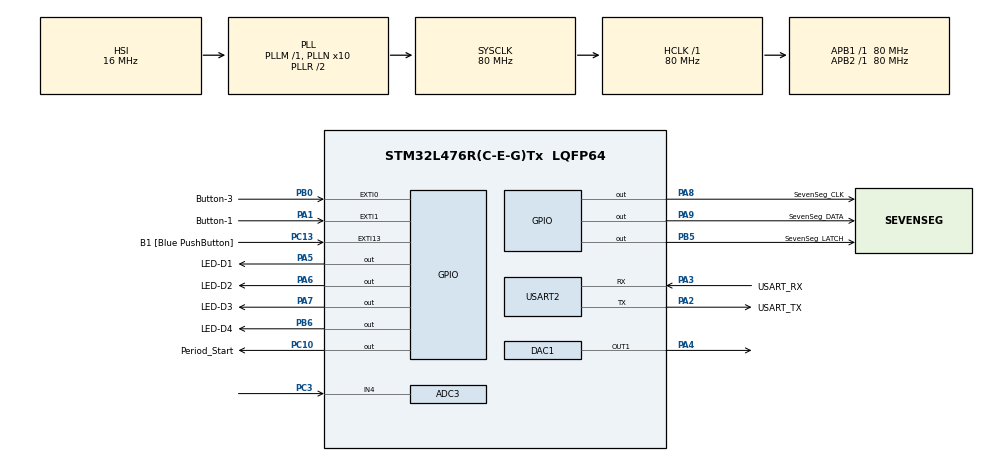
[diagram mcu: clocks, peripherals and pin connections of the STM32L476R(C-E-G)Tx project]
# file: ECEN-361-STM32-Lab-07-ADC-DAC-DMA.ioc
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ADC3.Channel-1\#ChannelRegularConversion=ADC_CHANNEL_4
ADC3.ContinuousConvMode=ENABLE
ADC3.DMAContinuousRequests=ENABLE
ADC3.ExternalTrigConv=ADC_EXTERNALTRIG_T3_TRGO
ADC3.NbrOfConversion=1
ADC3.NbrOfConversionFlag=1
ADC3.OffsetNumber-1\#ChannelRegularConversion=ADC_OFFSET_NONE
ADC3.Rank-1\#ChannelRegularConversion=1
ADC3.SamplingTime-1\#ChannelRegularConversion=ADC_SAMPLETIME_2CYCLES_5
DAC1.DAC_OutputBuffer-DAC_OUT1=DAC_OUTPUTBUFFER_ENABLE
DAC1.DAC_SampleAndHold-DAC_OUT1=DAC_SAMPLEANDHOLD_DISABLE
DAC1.DAC_Trigger-DAC_OUT1=DAC_TRIGGER_T2_TRGO
DAC1.DAC_UserTrimming-DAC_OUT1=DAC_TRIMMING_FACTORY
Dma.ADC3.1.Direction=DMA_PERIPH_TO_MEMORY
Dma.ADC3.1.Instance=DMA2_Channel5
Dma.ADC3.1.MemDataAlignment=DMA_MDATAALIGN_HALFWORD
Dma.ADC3.1.MemInc=DMA_MINC_ENABLE
Dma.ADC3.1.Mode=DMA_CIRCULAR
Dma.ADC3.1.PeriphDataAlignment=DMA_PDATAALIGN_HALFWORD
Dma.ADC3.1.PeriphInc=DMA_PINC_DISABLE
Dma.ADC3.1.Priority=DMA_PRIORITY_VERY_HIGH
Dma.DAC_CH1.0.Direction=DMA_MEMORY_TO_PERIPH
Dma.DAC_CH1.0.Instance=DMA1_Channel3
Dma.DAC_CH1.0.MemDataAlignment=DMA_MDATAALIGN_HALFWORD
Dma.DAC_CH1.0.MemInc=DMA_MINC_ENABLE
Dma.DAC_CH1.0.Mode=DMA_CIRCULAR
Dma.DAC_CH1.0.PeriphDataAlignment=DMA_PDATAALIGN_HALFWORD
Dma.DAC_CH1.0.PeriphInc=DMA_PINC_DISABLE
Dma.DAC_CH1.0.Priority=DMA_PRIORITY_MEDIUM
Dma.Request0=DAC_CH1
Dma.Request1=ADC3
Dma.Request2=USART2_TX
Dma.USART2_TX.2.Direction=DMA_MEMORY_TO_PERIPH
Dma.USART2_TX.2.Instance=DMA1_Channel7
Dma.USART2_TX.2.MemDataAlignment=DMA_MDATAALIGN_BYTE
Dma.USART2_TX.2.MemInc=DMA_MINC_ENABLE
Dma.USART2_TX.2.Mode=DMA_NORMAL
Dma.USART2_TX.2.PeriphDataAlignment=DMA_PDATAALIGN_BYTE
Dma.USART2_TX.2.PeriphInc=DMA_PINC_DISABLE
Dma.USART2_TX.2.Priority=DMA_PRIORITY_LOW
Mcu.Family=STM32L4
Mcu.Name=STM32L476R(C-E-G)Tx
Mcu.Package=LQFP64
NVIC.ADC3_IRQn=true\:0\:0\:false\:false\:true\:true\:true\:true
NVIC.DMA1_Channel3_IRQn=true\:5\:0\:true\:false\:true\:true\:true\:true
NVIC.DMA2_Channel5_IRQn=true\:0\:0\:false\:false\:true\:true\:true\:true
NVIC.EXTI0_IRQn=true\:0\:0\:false\:false\:true\:true\:true\:true
NVIC.EXTI15_10_IRQn=true\:0\:0\:false\:false\:true\:true\:true\:true
NVIC.EXTI1_IRQn=true\:0\:0\:false\:false\:true\:true\:true\:true
NVIC.PriorityGroup=NVIC_PRIORITYGROUP_4
NVIC.TIM1_BRK_TIM15_IRQn=true\:0\:0\:false\:false\:true\:true\:true\:true
NVIC.TIM1_TRG_COM_TIM17_IRQn=true\:0\:0\:false\:false\:true\:true\:true\:true
NVIC.TIM2_IRQn=true\:0\:0\:false\:false\:true\:true\:true\:true
NVIC.TIM3_IRQn=true\:0\:0\:false\:false\:true\:true\:true\:true
NVIC.TIM6_DAC_IRQn=true\:15\:0\:false\:false\:true\:true\:true\:true
PA1.GPIO_Label=Button-1
PA1.Signal=GPXTI1
PA13\ (JTMS-SWDIO).GPIO_Label=TMS
PA13\ (JTMS-SWDIO).Mode=Serial_Wire
PA13\ (JTMS-SWDIO).Signal=SYS_JTMS-SWDIO
PA14\ (JTCK-SWCLK).GPIO_Label=TCK
PA14\ (JTCK-SWCLK).Mode=Serial_Wire
PA14\ (JTCK-SWCLK).Signal=SYS_JTCK-SWCLK
PA2.GPIO_Label=USART_TX
PA2.GPIO_Mode=GPIO_MODE_AF_PP
PA2.GPIO_PuPd=GPIO_NOPULL
PA2.GPIO_Speed=GPIO_SPEED_FREQ_VERY_HIGH
PA2.Mode=Asynchronous
PA2.Signal=USART2_TX
PA3.GPIO_Label=USART_RX
PA3.GPIO_Mode=GPIO_MODE_AF_PP
PA3.GPIO_PuPd=GPIO_NOPULL
PA3.GPIO_Speed=GPIO_SPEED_FREQ_VERY_HIGH
PA3.Mode=Asynchronous
PA3.Signal=USART2_RX
PA4.Signal=COMP_DAC11_group
PA5.GPIO_Label=LED-D1
PA5.Signal=GPIO_Output
PA6.GPIO_Label=LED-D2
PA6.Signal=GPIO_Output
PA7.GPIO_Label=LED-D3
PA7.Signal=GPIO_Output
PA8.GPIO_Label=SevenSeg_CLK
PA8.Signal=GPIO_Output
PA9.GPIO_Label=SevenSeg_DATA
PA9.Signal=GPIO_Output
PB0.GPIO_Label=Button-3
PB0.Signal=GPXTI0
PB3\ (JTDO-TRACESWO).GPIO_Label=SWO
PB3\ (JTDO-TRACESWO).Signal=SYS_JTDO-SWO
PB5.GPIO_Label=SevenSeg_LATCH
PB5.Signal=GPIO_Output
PB6.GPIO_Label=LED-D4
PB6.Signal=GPIO_Output
PC10.GPIO_Label=Period_Start
PC10.Signal=GPIO_Output
PC13.GPIO_Label=B1 [Blue PushButton]
PC13.GPIO_ModeDefaultEXTI=GPIO_MODE_IT_FALLING
PC13.GPIO_PuPd=GPIO_NOPULL
PC13.Signal=GPXTI13
PC14-OSC32_IN\ (PC14).Mode=LSE-External-Oscillator
PC14-OSC32_IN\ (PC14).Signal=RCC_OSC32_IN
PC15-OSC32_OUT\ (PC15).Mode=LSE-External-Oscillator
PC15-OSC32_OUT\ (PC15).Signal=RCC_OSC32_OUT
PC3.Signal=ADCx_IN4
PC9.Signal=S_TIM8_CH4
PH0-OSC_IN\ (PH0).Signal=RCC_OSC_IN
PH1-OSC_OUT\ (PH1).Signal=RCC_OSC_OUT
ProjectManager.HeapSize=0x200
ProjectManager.StackSize=0x400
ProjectManager.TargetToolchain=STM32CubeIDE
RCC.ADCFreq_Value=64000000
RCC.AHBFreq_Value=80000000
RCC.APB1Freq_Value=80000000
RCC.APB1TimFreq_Value=80000000
RCC.APB2Freq_Value=80000000
RCC.APB2TimFreq_Value=80000000
RCC.CortexFreq_Value=80000000
RCC.HCLKFreq_Value=80000000
RCC.HSE_VALUE=8000000
RCC.HSI_VALUE=16000000
RCC.MSI_VALUE=4000000
RCC.PLLN=10
RCC.PLLSourceVirtual=RCC_PLLSOURCE_HSI
RCC.PREFETCH_ENABLE=1
RCC.SYSCLKFreq_VALUE=80000000
RCC.SYSCLKSource=RCC_SYSCLKSOURCE_PLLCLK
RCC.USBFreq_Value=64000000
RCC.VCOOutputFreq_Value=160000000
SH.ADCx_IN4.0=ADC3_IN4,IN4-Single-Ended
SH.COMP_DAC11_group.0=DAC1_OUT1,DAC_OUT1
SH.S_TIM8_CH4.0=TIM8_CH4
TIM15.Period=1000
TIM15.Prescaler=79
TIM17.Period=100
TIM17.Prescaler=800-1
TIM2.Period=1000
TIM2.Prescaler=79
TIM2.TIM_MasterOutputTrigger=TIM_TRGO_UPDATE
TIM3.Period=10
TIM3.Prescaler=79
TIM3.TIM_MasterOutputTrigger=TIM_TRGO_UPDATE
USART2.VirtualMode-Asynchronous=VM_ASYNC
VP_TIM15_VS_ClockSourceINT.Mode=Internal
VP_TIM17_VS_ClockSourceINT.Mode=Enable_Timer
VP_TIM2_VS_ClockSourceINT.Mode=Internal
VP_TIM3_VS_ClockSourceINT.Mode=Internal
board=NUCLEO-L476RG

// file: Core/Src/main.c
/* USER CODE BEGIN Header */
/**
  ******************************************************************************
  * @file           : main.c
  * @brief          : ECEN-361-Lab-08 ADC-DAC-DMA
  *
  * BYU-Idaho
  * Fall-2023 :   Lynn Watson
  *
  * See the  STUDENTS EDITABLE places below to modify for submission
  *
  ******************************************************************************
  */
/* USER CODE END Header */
#include "main.h"

/* USER CODE BEGIN Includes */
#include "sinewavetable.h"
#include "MultiFunctionShield.h"
/* USER CODE END Includes */

/* USER CODE BEGIN PTD */
void Start_the_DAC_DMA(void);

/* USER CODE END PTD */

/* USER CODE BEGIN PD */
int sindex = 0;
int adc_highest_seen = 0;
int hit_low = true;
int last_tick = 0;
int this_tick = 0;
uint32_t  prim;

int the_period = 0;
/* USER CODE END PD */

ADC_HandleTypeDef hadc3;
DMA_HandleTypeDef hdma_adc3;

DAC_HandleTypeDef hdac1;
DMA_HandleTypeDef hdma_dac_ch1;

TIM_HandleTypeDef htim2;
TIM_HandleTypeDef htim3;
TIM_HandleTypeDef htim15;
TIM_HandleTypeDef htim17;

UART_HandleTypeDef huart2;
DMA_HandleTypeDef hdma_usart2_tx;

/* USER CODE BEGIN PV */
#define PUTCHAR_PROTOTYPE int __io_putchar(int ch)
/* Going to use the buffer to look for level-crossing detector
 * so we can use the ADC as a frequency counter.
 *
 * May also want to send the value out with another DMA that
 * reads from this buffer and sends it out via USART2
 */
#define ADC_BUFFER_LENGTH 1000
uint16_t adc_buffer[ADC_BUFFER_LENGTH];

/* This is the formatted string buffer for the converted ADC results
 * After the buffer full of ADC samples is full, they have to be converted
 * to ASCII, a string per number that represents the 12-bits per sample
 *
 */
uint8_t adc_results_strings_buffer[ADC_BUFFER_LENGTH];

/* USER CODE END PV */

void SystemClock_Config(void);
static void MX_GPIO_Init(void);
static void MX_DMA_Init(void);
static void MX_USART2_UART_Init(void);
static void MX_DAC1_Init(void);
static void MX_TIM2_Init(void);
static void MX_TIM17_Init(void);
static void MX_ADC3_Init(void);
static void MX_TIM3_Init(void);
static void MX_TIM15_Init(void);
/* USER CODE BEGIN PFP */
void SW_SineWave(void * argument);
typedef void (*HAL_DMA_CallbackID)(DMA_HandleTypeDef *_hdma); //Pointer to the callback
void User_DMACompleteCallback(DMA_HandleTypeDef *hdac);

/* USER CODE END PFP */

/* USER CODE BEGIN 0 */

/************* GLOBALS **************/
int sinewave_table_index = 0;

enum points_per_cycle {ten=10,hundred=100,thousand=1000};
enum points_per_cycle points_to_use_in_a_cycle  = ten;

/* USER CODE END 0 */

int main(void)
{

  /* MCU Configuration--------------------------------------------------------*/

  /* Reset of all peripherals, Initializes the Flash interface and the Systick. */
  HAL_Init();

  /* USER CODE BEGIN Init */
#define USE_HAL_DAC_REGISTER_CALLBACKS        1U

  /* USER CODE END Init */

  /* Configure the system clock */
  SystemClock_Config();

  /* Initialize all configured peripherals */
  MX_GPIO_Init();
  MX_DMA_Init();
  MX_USART2_UART_Init();
  MX_DAC1_Init();
  MX_TIM2_Init();
  MX_TIM17_Init();
  MX_ADC3_Init();
  MX_TIM3_Init();
  MX_TIM15_Init();
  /* USER CODE BEGIN 2 */

  HAL_TIM_Base_Start_IT(&htim2);
  HAL_TIM_Base_Start_IT(&htim3); //Timer3 is the ADC Sample trigger
  HAL_TIM_Base_Start_IT(&htim15); //Timer6 is an absolute Tick

  /* USER CODE END 2 */

  /* Infinite loop */
  /* USER CODE BEGIN WHILE */

  // HAL_GPIO_WritePin(LD2_GPIO_Port,LD2_Pin,1);

  printf("\033\143"); printf("Welcome to ECEN-361 SineWave Generator\n\r");

  // Start timer
  MultiFunctionShield_Clear();								// Clear the 7-seg display
  HAL_TIM_Base_Start_IT(&htim17);							// LED SevenSeg cycle thru them
  Clear_LEDs();
  MultiFunctionShield_Display(points_to_use_in_a_cycle);

  /* Setup the DMA */

  if (HAL_DMA_Init(&hdma_dac_ch1) != HAL_OK)	{while(1);}
  if (HAL_DMA_Init(&hdma_adc3) != HAL_OK)		{while(1);}
  if (HAL_DMA_Init(&hdma_usart2_tx) != HAL_OK)		{while(1);}

// HAL_StatusTypeDef HAL_DMA_RegisterCallback(DMA_HandleTypeDef *hdma, HAL_DMA_CallbackIDTypeDef CallbackID, void (* pCallback)(DMA_HandleTypeDef *_hdma));
//*Tell the DMA interrupt where to go*/
  HAL_DMA_RegisterCallback(&hdma_dac_ch1, HAL_DAC_CH1_COMPLETE_CB_ID, User_DMACompleteCallback);

  Start_the_DAC_DMA();

  /* For second week, we'll look at the ADC, and the DMA for the USART
   * HAL_ADC_Start_DMA(&hadc3, (uint32_t*) adc_buffer, ADC_BUFFER_LENGTH);
   * HAL_UART_RegisterCallback(UART_HandleTypeDef *huart, HAL_UART_CallbackIDTypeDef CallbackID, pUART_CallbackTypeDef pCallback)
   * HAL_DAC_Start_DMA(&hdac1, DAC_CHANNEL_1, (uint32_t*) sineLookupTable_1000_pts, 1000,DAC_ALIGN_12B_R);
   * HAL_DAC_Start_DMA(&hdac1, DAC_CHANNEL_1, (uint32_t*) sineLookupTable_100_pts, 100,DAC_ALIGN_12B_R);
   * HAL_DAC_Start_DMA(&hdac1, DAC_CHANNEL_1, (uint32_t*) sineLookupTable_10_pts, 10,DAC_ALIGN_12B_R);
   * HAL_DMA_Start_IT(&hdma_dac_ch1, (uint32_t) &sineLookupTable_100_pts, (uint32_t) &hdac1, sizeof(sineLookupTable_100_pts));
   * HAL_DMA_PollForTransfer(&hdma_memtomem_dma1_channel1, );
   */

  while (1)
  {
    /* USER CODE END WHILE */

  }
}

void SystemClock_Config(void)
{
  RCC_OscInitTypeDef RCC_OscInitStruct = {0};
  RCC_ClkInitTypeDef RCC_ClkInitStruct = {0};

  /** Configure the main internal regulator output voltage
  */
  if (HAL_PWREx_ControlVoltageScaling(PWR_REGULATOR_VOLTAGE_SCALE1) != HAL_OK)
  {
    Error_Handler();
  }

  /** Initializes the RCC Oscillators according to the specified parameters
  * in the RCC_OscInitTypeDef structure.
  */
  RCC_OscInitStruct.OscillatorType = RCC_OSCILLATORTYPE_HSI;
  RCC_OscInitStruct.HSIState = RCC_HSI_ON;
  RCC_OscInitStruct.HSICalibrationValue = RCC_HSICALIBRATION_DEFAULT;
  RCC_OscInitStruct.PLL.PLLState = RCC_PLL_ON;
  RCC_OscInitStruct.PLL.PLLSource = RCC_PLLSOURCE_HSI;
  RCC_OscInitStruct.PLL.PLLM = 1;
  RCC_OscInitStruct.PLL.PLLN = 10;
  RCC_OscInitStruct.PLL.PLLP = RCC_PLLP_DIV7;
  RCC_OscInitStruct.PLL.PLLQ = RCC_PLLQ_DIV2;
  RCC_OscInitStruct.PLL.PLLR = RCC_PLLR_DIV2;
  if (HAL_RCC_OscConfig(&RCC_OscInitStruct) != HAL_OK)
  {
    Error_Handler();
  }

  /** Initializes the CPU, AHB and APB buses clocks
  */
  RCC_ClkInitStruct.ClockType = RCC_CLOCKTYPE_HCLK|RCC_CLOCKTYPE_SYSCLK
                              |RCC_CLOCKTYPE_PCLK1|RCC_CLOCKTYPE_PCLK2;
  RCC_ClkInitStruct.SYSCLKSource = RCC_SYSCLKSOURCE_PLLCLK;
  RCC_ClkInitStruct.AHBCLKDivider = RCC_SYSCLK_DIV1;
  RCC_ClkInitStruct.APB1CLKDivider = RCC_HCLK_DIV1;
  RCC_ClkInitStruct.APB2CLKDivider = RCC_HCLK_DIV1;

  if (HAL_RCC_ClockConfig(&RCC_ClkInitStruct, FLASH_LATENCY_4) != HAL_OK)
  {
    Error_Handler();
  }
}

static void MX_ADC3_Init(void)
{

  ADC_ChannelConfTypeDef sConfig = {0};

  /** Common config
  */
  hadc3.Instance = ADC3;
  hadc3.Init.ClockPrescaler = ADC_CLOCK_ASYNC_DIV1;
  hadc3.Init.Resolution = ADC_RESOLUTION_12B;
  hadc3.Init.DataAlign = ADC_DATAALIGN_RIGHT;
  hadc3.Init.ScanConvMode = ADC_SCAN_DISABLE;
  hadc3.Init.EOCSelection = ADC_EOC_SINGLE_CONV;
  hadc3.Init.LowPowerAutoWait = DISABLE;
  hadc3.Init.ContinuousConvMode = ENABLE;
  hadc3.Init.NbrOfConversion = 1;
  hadc3.Init.DiscontinuousConvMode = DISABLE;
  hadc3.Init.ExternalTrigConv = ADC_EXTERNALTRIG_T3_TRGO;
  hadc3.Init.ExternalTrigConvEdge = ADC_EXTERNALTRIGCONVEDGE_RISING;
  hadc3.Init.DMAContinuousRequests = ENABLE;
  hadc3.Init.Overrun = ADC_OVR_DATA_PRESERVED;
  hadc3.Init.OversamplingMode = DISABLE;
  if (HAL_ADC_Init(&hadc3) != HAL_OK)
  {
    Error_Handler();
  }

  /** Configure Regular Channel
  */
  sConfig.Channel = ADC_CHANNEL_4;
  sConfig.Rank = ADC_REGULAR_RANK_1;
  sConfig.SamplingTime = ADC_SAMPLETIME_2CYCLES_5;
  sConfig.SingleDiff = ADC_SINGLE_ENDED;
  sConfig.OffsetNumber = ADC_OFFSET_NONE;
  sConfig.Offset = 0;
  if (HAL_ADC_ConfigChannel(&hadc3, &sConfig) != HAL_OK)
  {
    Error_Handler();
  }

}

static void MX_DAC1_Init(void)
{

  DAC_ChannelConfTypeDef sConfig = {0};

  /** DAC Initialization
  */
  hdac1.Instance = DAC1;
  if (HAL_DAC_Init(&hdac1) != HAL_OK)
  {
    Error_Handler();
  }

  /** DAC channel OUT1 config
  */
  sConfig.DAC_SampleAndHold = DAC_SAMPLEANDHOLD_DISABLE;
  sConfig.DAC_Trigger = DAC_TRIGGER_T2_TRGO;
  sConfig.DAC_OutputBuffer = DAC_OUTPUTBUFFER_ENABLE;
  sConfig.DAC_ConnectOnChipPeripheral = DAC_CHIPCONNECT_DISABLE;
  sConfig.DAC_UserTrimming = DAC_TRIMMING_FACTORY;
  if (HAL_DAC_ConfigChannel(&hdac1, &sConfig, DAC_CHANNEL_1) != HAL_OK)
  {
    Error_Handler();
  }
  /* USER CODE BEGIN DAC1_Init 2 */
  // HAL_StatusTypeDef HAL_DACEx_SelfCalibrate(DAC_HandleTypeDef *hdac, *sConfig, uint32_t Channel)
  if (HAL_DACEx_SelfCalibrate(&hdac1, &sConfig, DAC_CHANNEL_1) != HAL_OK) {Error_Handler();}

  /* USER CODE END DAC1_Init 2 */

}

static void MX_TIM2_Init(void)
{

  TIM_ClockConfigTypeDef sClockSourceConfig = {0};
  TIM_MasterConfigTypeDef sMasterConfig = {0};

  htim2.Instance = TIM2;
  htim2.Init.Prescaler = 79;
  htim2.Init.CounterMode = TIM_COUNTERMODE_UP;
  htim2.Init.Period = 1000;
  htim2.Init.ClockDivision = TIM_CLOCKDIVISION_DIV1;
  htim2.Init.AutoReloadPreload = TIM_AUTORELOAD_PRELOAD_DISABLE;
  if (HAL_TIM_Base_Init(&htim2) != HAL_OK)
  {
    Error_Handler();
  }
  sClockSourceConfig.ClockSource = TIM_CLOCKSOURCE_INTERNAL;
  if (HAL_TIM_ConfigClockSource(&htim2, &sClockSourceConfig) != HAL_OK)
  {
    Error_Handler();
  }
  sMasterConfig.MasterOutputTrigger = TIM_TRGO_UPDATE;
  sMasterConfig.MasterSlaveMode = TIM_MASTERSLAVEMODE_DISABLE;
  if (HAL_TIMEx_MasterConfigSynchronization(&htim2, &sMasterConfig) != HAL_OK)
  {
    Error_Handler();
  }

}

static void MX_TIM3_Init(void)
{

  TIM_ClockConfigTypeDef sClockSourceConfig = {0};
  TIM_MasterConfigTypeDef sMasterConfig = {0};

  htim3.Instance = TIM3;
  htim3.Init.Prescaler = 79;
  htim3.Init.CounterMode = TIM_COUNTERMODE_UP;
  htim3.Init.Period = 10;
  htim3.Init.ClockDivision = TIM_CLOCKDIVISION_DIV1;
  htim3.Init.AutoReloadPreload = TIM_AUTORELOAD_PRELOAD_DISABLE;
  if (HAL_TIM_Base_Init(&htim3) != HAL_OK)
  {
    Error_Handler();
  }
  sClockSourceConfig.ClockSource = TIM_CLOCKSOURCE_INTERNAL;
  if (HAL_TIM_ConfigClockSource(&htim3, &sClockSourceConfig) != HAL_OK)
  {
    Error_Handler();
  }
  sMasterConfig.MasterOutputTrigger = TIM_TRGO_UPDATE;
  sMasterConfig.MasterSlaveMode = TIM_MASTERSLAVEMODE_DISABLE;
  if (HAL_TIMEx_MasterConfigSynchronization(&htim3, &sMasterConfig) != HAL_OK)
  {
    Error_Handler();
  }

}

static void MX_TIM15_Init(void)
{

  TIM_ClockConfigTypeDef sClockSourceConfig = {0};
  TIM_MasterConfigTypeDef sMasterConfig = {0};

  htim15.Instance = TIM15;
  htim15.Init.Prescaler = 79;
  htim15.Init.CounterMode = TIM_COUNTERMODE_UP;
  htim15.Init.Period = 1000;
  htim15.Init.ClockDivision = TIM_CLOCKDIVISION_DIV1;
  htim15.Init.RepetitionCounter = 0;
  htim15.Init.AutoReloadPreload = TIM_AUTORELOAD_PRELOAD_DISABLE;
  if (HAL_TIM_Base_Init(&htim15) != HAL_OK)
  {
    Error_Handler();
  }
  sClockSourceConfig.ClockSource = TIM_CLOCKSOURCE_INTERNAL;
  if (HAL_TIM_ConfigClockSource(&htim15, &sClockSourceConfig) != HAL_OK)
  {
    Error_Handler();
  }
  sMasterConfig.MasterOutputTrigger = TIM_TRGO_RESET;
  sMasterConfig.MasterSlaveMode = TIM_MASTERSLAVEMODE_DISABLE;
  if (HAL_TIMEx_MasterConfigSynchronization(&htim15, &sMasterConfig) != HAL_OK)
  {
    Error_Handler();
  }

}

static void MX_TIM17_Init(void)
{

  htim17.Instance = TIM17;
  htim17.Init.Prescaler = 800-1;
  htim17.Init.CounterMode = TIM_COUNTERMODE_UP;
  htim17.Init.Period = 100;
  htim17.Init.ClockDivision = TIM_CLOCKDIVISION_DIV1;
  htim17.Init.RepetitionCounter = 0;
  htim17.Init.AutoReloadPreload = TIM_AUTORELOAD_PRELOAD_DISABLE;
  if (HAL_TIM_Base_Init(&htim17) != HAL_OK)
  {
    Error_Handler();
  }

}

static void MX_USART2_UART_Init(void)
{

  huart2.Instance = USART2;
  huart2.Init.BaudRate = 115200;
  huart2.Init.WordLength = UART_WORDLENGTH_8B;
  huart2.Init.StopBits = UART_STOPBITS_1;
  huart2.Init.Parity = UART_PARITY_NONE;
  huart2.Init.Mode = UART_MODE_TX_RX;
  huart2.Init.HwFlowCtl = UART_HWCONTROL_NONE;
  huart2.Init.OverSampling = UART_OVERSAMPLING_16;
  huart2.Init.OneBitSampling = UART_ONE_BIT_SAMPLE_DISABLE;
  huart2.AdvancedInit.AdvFeatureInit = UART_ADVFEATURE_NO_INIT;
  if (HAL_UART_Init(&huart2) != HAL_OK)
  {
    Error_Handler();
  }

}

static void MX_DMA_Init(void)
{

  /* DMA controller clock enable */
  __HAL_RCC_DMA1_CLK_ENABLE();
  __HAL_RCC_DMA2_CLK_ENABLE();

  /* DMA interrupt init */
  /* DMA1_Channel3_IRQn interrupt configuration */
  HAL_NVIC_SetPriority(DMA1_Channel3_IRQn, 5, 0);
  HAL_NVIC_EnableIRQ(DMA1_Channel3_IRQn);
  /* DMA2_Channel5_IRQn interrupt configuration */
  HAL_NVIC_SetPriority(DMA2_Channel5_IRQn, 0, 0);
  HAL_NVIC_EnableIRQ(DMA2_Channel5_IRQn);

}

static void MX_GPIO_Init(void)
{
  GPIO_InitTypeDef GPIO_InitStruct = {0};

  /* GPIO Ports Clock Enable */
  __HAL_RCC_GPIOC_CLK_ENABLE();
  __HAL_RCC_GPIOH_CLK_ENABLE();
  __HAL_RCC_GPIOA_CLK_ENABLE();
  __HAL_RCC_GPIOB_CLK_ENABLE();

  /*Configure GPIO pin Output Level */
  HAL_GPIO_WritePin(GPIOA, LED_D1_Pin|LED_D2_Pin|LED_D3_Pin|SevenSeg_CLK_Pin
                          |SevenSeg_DATA_Pin, GPIO_PIN_RESET);

  /*Configure GPIO pin Output Level */
  HAL_GPIO_WritePin(Period_Start_GPIO_Port, Period_Start_Pin, GPIO_PIN_RESET);

  /*Configure GPIO pin Output Level */
  HAL_GPIO_WritePin(GPIOB, SevenSeg_LATCH_Pin|LED_D4_Pin, GPIO_PIN_RESET);

  /*Configure GPIO pin : B1_Pin */
  GPIO_InitStruct.Pin = B1_Pin;
  GPIO_InitStruct.Mode = GPIO_MODE_IT_FALLING;
  GPIO_InitStruct.Pull = GPIO_NOPULL;
  HAL_GPIO_Init(B1_GPIO_Port, &GPIO_InitStruct);

  /*Configure GPIO pin : Button_1_Pin */
  GPIO_InitStruct.Pin = Button_1_Pin;
  GPIO_InitStruct.Mode = GPIO_MODE_IT_RISING;
  GPIO_InitStruct.Pull = GPIO_NOPULL;
  HAL_GPIO_Init(Button_1_GPIO_Port, &GPIO_InitStruct);

  /*Configure GPIO pins : LED_D1_Pin LED_D2_Pin LED_D3_Pin SevenSeg_CLK_Pin
                           SevenSeg_DATA_Pin */
  GPIO_InitStruct.Pin = LED_D1_Pin|LED_D2_Pin|LED_D3_Pin|SevenSeg_CLK_Pin
                          |SevenSeg_DATA_Pin;
  GPIO_InitStruct.Mode = GPIO_MODE_OUTPUT_PP;
  GPIO_InitStruct.Pull = GPIO_NOPULL;
  GPIO_InitStruct.Speed = GPIO_SPEED_FREQ_LOW;
  HAL_GPIO_Init(GPIOA, &GPIO_InitStruct);

  /*Configure GPIO pin : Button_3_Pin */
  GPIO_InitStruct.Pin = Button_3_Pin;
  GPIO_InitStruct.Mode = GPIO_MODE_IT_RISING;
  GPIO_InitStruct.Pull = GPIO_NOPULL;
  HAL_GPIO_Init(Button_3_GPIO_Port, &GPIO_InitStruct);

  /*Configure GPIO pin : PC9 */
  GPIO_InitStruct.Pin = GPIO_PIN_9;
  GPIO_InitStruct.Mode = GPIO_MODE_AF_PP;
  GPIO_InitStruct.Pull = GPIO_NOPULL;
  GPIO_InitStruct.Speed = GPIO_SPEED_FREQ_LOW;
  GPIO_InitStruct.Alternate = GPIO_AF3_TIM8;
  HAL_GPIO_Init(GPIOC, &GPIO_InitStruct);

  /*Configure GPIO pin : Period_Start_Pin */
  GPIO_InitStruct.Pin = Period_Start_Pin;
  GPIO_InitStruct.Mode = GPIO_MODE_OUTPUT_PP;
  GPIO_InitStruct.Pull = GPIO_NOPULL;
  GPIO_InitStruct.Speed = GPIO_SPEED_FREQ_LOW;
  HAL_GPIO_Init(Period_Start_GPIO_Port, &GPIO_InitStruct);

  /*Configure GPIO pins : SevenSeg_LATCH_Pin LED_D4_Pin */
  GPIO_InitStruct.Pin = SevenSeg_LATCH_Pin|LED_D4_Pin;
  GPIO_InitStruct.Mode = GPIO_MODE_OUTPUT_PP;
  GPIO_InitStruct.Pull = GPIO_NOPULL;
  GPIO_InitStruct.Speed = GPIO_SPEED_FREQ_LOW;
  HAL_GPIO_Init(GPIOB, &GPIO_InitStruct);

  /* EXTI interrupt init*/
  HAL_NVIC_SetPriority(EXTI0_IRQn, 0, 0);
  HAL_NVIC_EnableIRQ(EXTI0_IRQn);

  HAL_NVIC_SetPriority(EXTI1_IRQn, 0, 0);
  HAL_NVIC_EnableIRQ(EXTI1_IRQn);

  HAL_NVIC_SetPriority(EXTI15_10_IRQn, 0, 0);
  HAL_NVIC_EnableIRQ(EXTI15_10_IRQn);

}

/* USER CODE BEGIN 4 */

/**
  * @brief  Retargets the C library printf function to the USART.
  * @param  None
  * @retval None
  */
PUTCHAR_PROTOTYPE
{
  /* Place your implementation of fputc here */
  /* e.g. write a character to the USART1 and Loop until the end of transmission */
  HAL_UART_Transmit(&huart2, (uint8_t *)&ch, 1, 0xFFFF);

  return ch;
}

void HAL_DAC_ConvCpltCallbackCh1(DAC_HandleTypeDef *hdac)
	{
	/* Fill this in when I know what to do if I get here */
	/* We get here when we are starting a new cycle of the analog out
	 *
	 */
	// Toggle a GPIO so I can measure it with a scope
	HAL_GPIO_WritePin(Period_Start_GPIO_Port, Period_Start_Pin, GPIO_PIN_SET);
	for(int i=0;i<10;i++);
	HAL_GPIO_WritePin(Period_Start_GPIO_Port, Period_Start_Pin, GPIO_PIN_RESET);
	// And set the period in ms  (global)
	the_period = uwTick - last_tick;
	last_tick = uwTick;
	HAL_DMA_RegisterCallback(&hdma_dac_ch1, HAL_DAC_CH1_COMPLETE_CB_ID, User_DMACompleteCallback);
	}

void SW_SineWave(void * arguments)
	{
	HAL_DAC_Start(&hdac1, DAC_CHANNEL_1);
	while(true)
		{
		for(int sindex=0;sindex<=1000;sindex++)
			{
			  //HAL_DAC_SetValue(&hdac1, DAC_CHANNEL_1, DAC_ALIGN_12B_R,(uint32_t) sineLookup[sindex]);
			  HAL_Delay(1);
			}

		}
	}

void Start_the_DAC_DMA(void)
	{
	 //First stop it, just to be clean (if running)
	HAL_DAC_Stop_DMA(&hdac1, DAC_CHANNEL_1);
	// Just use the global

	switch(points_to_use_in_a_cycle)
		{
		case ten:
		   HAL_DAC_Start_DMA(&hdac1, DAC_CHANNEL_1, (uint32_t*) sineLookupTable_10_pts, 10,DAC_ALIGN_12B_R);
			break;
		case hundred:
		   HAL_DAC_Start_DMA(&hdac1, DAC_CHANNEL_1, (uint32_t*) sineLookupTable_100_pts, 100,DAC_ALIGN_12B_R);
			break;
		case thousand:
		   HAL_DAC_Start_DMA(&hdac1, DAC_CHANNEL_1, (uint32_t*) sineLookupTable_1000_pts, 1000,DAC_ALIGN_12B_R);
			break;
		}
	}

void change_points_per_cycle()
	{
	/*
	 *  This routine just cycles thru the 3 different sets of points that
	 *  can be used to generate a sine wave.
	 *  The steps to change:
	 *  1.) Change the variable that says what set we're on to the next one
	 *  2.) Change the DMA Call to point to the address of that set
	 *      and the new number of points
	 *
	 *  3.) Re-display the new set on the 7-Seg.  It'll show '10', or '100', or '1000'
	 */
	switch(points_to_use_in_a_cycle)
		{
		case ten:
			points_to_use_in_a_cycle = hundred;
			break;
		case hundred:
			points_to_use_in_a_cycle = thousand;
			break;
		case thousand:
			points_to_use_in_a_cycle = ten;
			break;
		}
		Start_the_DAC_DMA();
		MultiFunctionShield_Display(points_to_use_in_a_cycle);
	}

// Callback: timer has rolled over

void HAL_GPIO_EXTI_Callback(uint16_t GPIO_Pin)
	{
	// When the DAC is being used, Button_2 is unavailable.
	// The other two generate GPIO interrupts
	// Don't spend much time in the ISR because there are other interrupts happening
	switch(GPIO_Pin)
	{
	case Button_1_Pin:
		change_points_per_cycle();
		break;
	case Button_3_Pin:
		// Button_3 changes the Frequency of the DAC, going thru different
		// speeds
	  MultiFunctionShield_Display(the_period);
		break;
	default:
      __NOP();
	}
}

void HAL_ADC_ConvCpltCallback(ADC_HandleTypeDef* hadc3) {
	// When the ADC Buffer is filled, come here then launch the USART out... week 2 of the lab
	//
   for (int i=0; i<ADC_BUFFER_LENGTH;i++)
	   { adc_highest_seen = (adc_highest_seen < adc_buffer[i])?adc_buffer[i]:adc_highest_seen;
		snprintf((char *) adc_results_strings_buffer,100,"%d\n",adc_buffer[i]);
		printf("%d\r\n\r",adc_buffer[i]);
	   }
	//    HAL_UART_Transmit_DMA((DMA_HandleTypeDef *) &hdma_usart2_tx,adc_results_strings_buffer,ADC_BUFFER_LENGTH);
	}

// Callback: timer has rolled over
void HAL_TIM_PeriodElapsedCallback(TIM_HandleTypeDef *htim)
	{ // Check which version of the timer triggered this callback and toggle the right LED
	// This timer has to be here to cycle thru the 7-Seg LED displays
	if (htim == &htim17 ) { MultiFunctionShield__ISRFunc(); }
	}

void User_DMACompleteCallback(DMA_HandleTypeDef *hdac)
	{
	HAL_GPIO_WritePin(Period_Start_GPIO_Port, Period_Start_Pin, GPIO_PIN_SET);
	for(int i=0;i<10;i++);	// Just to get a pulse
	HAL_GPIO_WritePin(Period_Start_GPIO_Port, Period_Start_Pin, GPIO_PIN_RESET);
	}

/* USER CODE END 4 */

void Error_Handler(void)
{
  __disable_irq();
  while (1)
  {
  }
}
